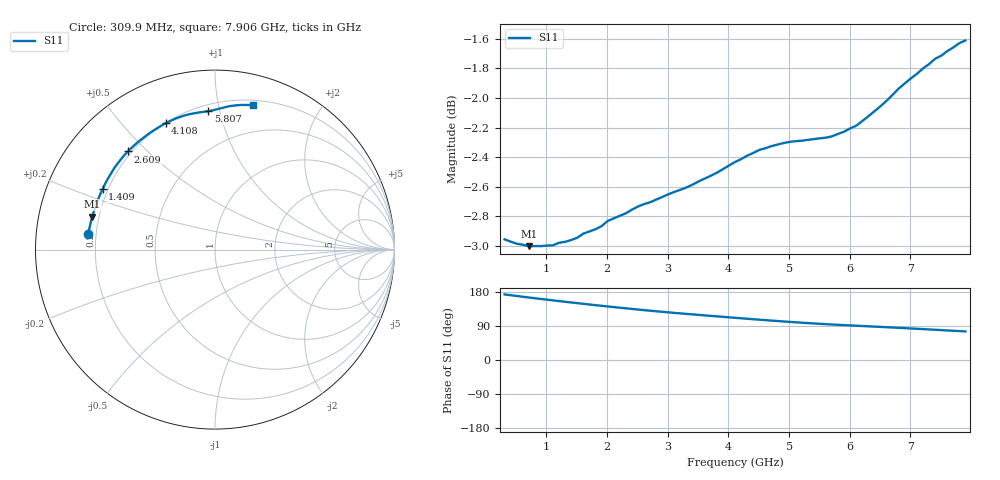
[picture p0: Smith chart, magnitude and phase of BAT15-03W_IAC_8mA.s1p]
! Infineon Technologies  Discrete & RF Semiconductors
! BAT15-03W-E6327
! IAC = 8 mA
! One-Port S-Parameters
# Hz  S  MA  R  50
!f  S11
!Hz  Mag  Ang
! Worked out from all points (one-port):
!   77 points, 309.9 MHz to 7.906 GHz, reference 50 ohm
!   lowest |S11| = -3.0 dB at 709.6 MHz (marker M1), VSWR 5.84, Z = 8.71 + j6.43 ohm
!   |S11| at or under -10 dB: nowhere
!   S11 on the Smith chart (normalised r, x): 309.9 MHz: 0.17, +0.06; 1.409 GHz: 0.18, +0.24; 2.609 GHz: 0.19, +0.44; 4.108 GHz: 0.20, +0.66; 5.807 GHz: 0.24, +0.92; 7.906 GHz: 0.24, +1.27
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3.0985e8  0.7114 173.1
6.097e8  0.7085 166.9
7.0965e8  0.7077 164.9
1.0095e9  0.708 159.2
1.30935e9  0.7101 153.6
1.4093e9  0.7111 151.8
1.6092e9  0.7146 148.2
1.70915e9  0.7158 146.4
2.009e9  0.7217 141.3
2.2089e9  0.7246 138.0
2.50875e9  0.7299 133.2
2.6087e9  0.7313 131.6
3.0085e9  0.7369 125.7
3.2084e9  0.7395 123.0
3.6082e9  0.7459 117.7
4.10795e9  0.7556 111.4
4.50775e9  0.7628 106.4
4.8076e9  0.766 102.9
5.10745e9  0.768 99.5
5.4073e9  0.7693 96.4
5.8071e9  0.7724 92.8
6.007e9  0.7757 91.3
6.50675e9  0.7893 87.4
6.8066e9  0.8002 84.9
7.0065e9  0.8065 83.2
7.4063e9  0.819 79.8
7.8061e9  0.829 76.3
7.90605e9  0.8308 75.4
